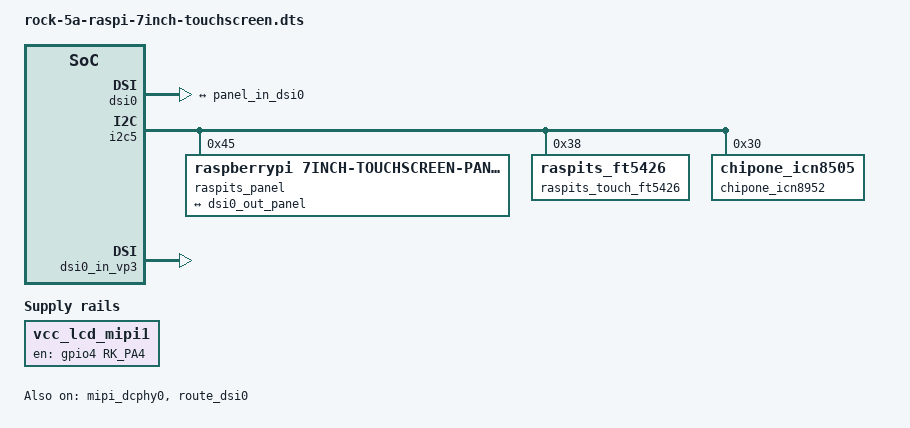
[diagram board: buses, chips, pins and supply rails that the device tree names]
/dts-v1/;
/plugin/;

#include <dt-bindings/interrupt-controller/irq.h>
#include <dt-bindings/gpio/gpio.h>
#include <dt-bindings/pinctrl/rockchip.h>

/ {
	metadata {
		title = "Enable Raspberry Pi 7-inch Touchscreen";
		compatible = "radxa,rock-5a";
		category = "display";
		exclusive = "dsi0";
		description = "Enable Raspberry Pi 7-inch Touchscreen";
	};

	fragment@0 {
		target-path = "/";

		__overlay__ {
			vcc_lcd_mipi1: vcc-lcd-mipi1 {
				status = "okay";
				compatible = "regulator-fixed";
				regulator-name = "vcc_lcd_mipi1";
				gpio = <&gpio4 RK_PA4 GPIO_ACTIVE_HIGH>;
				enable-active-high;
				regulator-boot-on;
				regulator-always-on;
				regulator-state-mem {
					regulator-off-in-suspend;
				};
			};
		};
	};

	fragment@1 {
		target = <&dsi0>;

		__overlay__ {
			status = "okay";
			#address-cells = <1>;
			#size-cells = <0>;
			rockchip,lane-rate = <600>;

			ports {
				#address-cells = <1>;
				#size-cells = <0>;

				port@1 {
					reg = <1>;
					dsi0_out_panel: endpoint {
						remote-endpoint = <&panel_in_dsi0>;
					};
				};
			};
		};
	};

	fragment@2 {
		target = <&i2c5>;

		__overlay__ {
			status = "okay";
			pinctrl-0 = <&i2c5m2_xfer>;
			#address-cells = <1>;
			#size-cells = <0>;

			raspits_panel: raspits-panel@45 {
				compatible = "raspberrypi,7inch-touchscreen-panel";
				reg = <0x45>;
				#address-cells = <1>;
				#size-cells = <0>;

				platform = <3588>;

				port@0 {
					reg = <0>;
					panel_in_dsi0: endpoint {
						remote-endpoint = <&dsi0_out_panel>;
					};
				};
			};

			raspits_touch_ft5426: raspits-touch-ft5426@38 {
				compatible = "raspits_ft5426";
				reg = <0x38>;
			};

			chipone_icn8952: chipone_icn8952@30 {
				compatible = "chipone_icn8505";
				reg = <0x30>;
			};
		};
	};

	fragment@3 {
		target = <&mipi_dcphy0>;

		__overlay__ {
			status = "okay";
		};
	};

	fragment@4 {
		target = <&route_dsi0>;

		__overlay__ {
			status = "okay";
			connect = <&vp3_out_dsi0>;
		};
	};

	fragment@5 {
		target = <&dsi0_in_vp2>;

		__overlay__ {
			status = "disabled";
		};
	};

	fragment@6 {
		target = <&dsi0_in_vp3>;

		__overlay__ {
			status = "okay";
		};
	};
};
